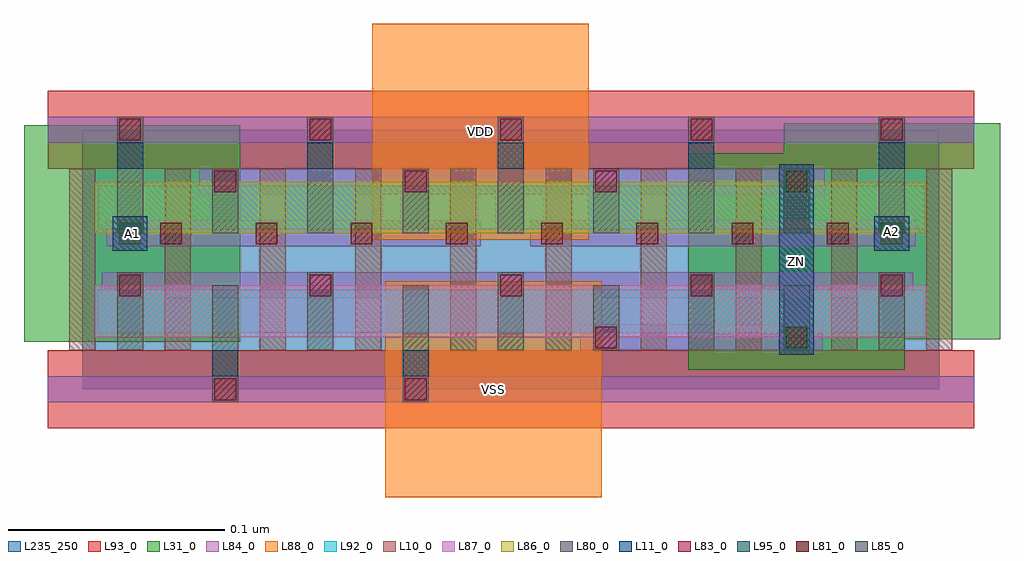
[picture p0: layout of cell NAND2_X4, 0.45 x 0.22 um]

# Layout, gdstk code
import gdstk
lib = gdstk.Library(unit=1e-6, precision=1e-09)
def R(c, l, rs):  # rectangles x0, y0, x1, y1
    for r in rs: c.add(gdstk.rectangle(r[:2], r[2:], *l))
def A(c, l, x, y, w, h, nx, ny, dx, dy):  # array of equal rectangles
    R(c, l, [(x+i*dx, y+j*dy, x+i*dx+w, y+j*dy+h) for i in range(nx) for j in range(ny)])
L10_0 = (10, 0)
L11_0 = (11, 0)
L31_0 = (31, 0)
L80_0 = (80, 0)
L81_0 = (81, 0)
L83_0 = (83, 0)
L84_0 = (84, 0)
L85_0 = (85, 0)
L86_0 = (86, 0)
L87_0 = (87, 0)
L88_0 = (88, 0)
L92_0 = (92, 0)
L93_0 = (93, 0)
L95_0 = (95, 0)
L235_250 = (235, 250)

nand2_x4 = lib.new_cell('NAND2_X4')
A(nand2_x4, L10_0, -0.006, 0.018, 0.012, 0.084, 10, 1, 0.044, 0)
R(nand2_x4, L11_0, [(0.322,0.016,0.338,0.104), (0.014,0.064,0.03,0.08), (0.366,0.064,0.382,0.08)])
R(nand2_x4, L31_0, [(0.28,0.009,0.38,0.109), (-0.027,0.022,0.073,0.122), (0.324,0.023,0.424,0.123)])
A(nand2_x4, L80_0, 0.016, 0.018, 0.012, 0.036, 5, 1, 0.088, 0)
A(nand2_x4, L80_0, 0.016, 0.072, 0.012, 0.054, 5, 1, 0.088, 0)
A(nand2_x4, L80_0, 0.06, 0.072, 0.012, 0.03, 4, 1, 0.088, 0)
R(nand2_x4, L80_0, [(0.06,-0.006,0.072,0.048), (0.148,-0.006,0.16,0.048), (0.236,0.018,0.248,0.048), (0.324,0.018,0.336,0.048)])
A(nand2_x4, L81_0, 0.036, 0.067, 0.01, 0.01, 8, 1, 0.044, 0)
A(nand2_x4, L83_0, 0.017, 0.043, 0.01, 0.01, 5, 2, 0.088, 0.072)
A(nand2_x4, L83_0, 0.061, 0.091, 0.01, 0.01, 4, 1, 0.088, 0)
R(nand2_x4, L83_0, [(0.061,-0.005,0.071,0.005), (0.149,-0.005,0.159,0.005), (0.237,0.019,0.247,0.029), (0.325,0.019,0.335,0.029)])
R(nand2_x4, L84_0, [(-0.016,-0.006,0.412,0.006), (0.23,0.018,0.342,0.03), (0.009,0.042,0.384,0.054), (0.011,0.066,0.184,0.078), (0.207,0.066,0.385,0.078), (0.054,0.09,0.343,0.102), (-0.016,0.114,0.412,0.126)])
R(nand2_x4, L85_0, [(0.325,0.019,0.335,0.029), (0.017,0.067,0.027,0.077), (0.369,0.067,0.379,0.077), (0.325,0.091,0.335,0.101)])
R(nand2_x4, L86_0, [(0.006,0.072,0.39,0.096)])
R(nand2_x4, L87_0, [(0.006,0.024,0.39,0.048)])
R(nand2_x4, L88_0, [(0.14,-0.05,0.24,0.05), (0.134,0.069,0.234,0.169)])
R(nand2_x4, L92_0, [(0.007,0.026,0.389,0.046), (0.007,0.074,0.389,0.094)])
R(nand2_x4, L93_0, [(-0.016,-0.018,0.412,0.018), (-0.016,0.102,0.412,0.138)])
A(nand2_x4, L95_0, 0.016, 0.102, 0.012, 0.012, 5, 1, 0.088, 0)
R(nand2_x4, L95_0, [(0.06,0.006,0.072,0.018), (0.148,0.006,0.16,0.018)])
R(nand2_x4, L235_250, [(0,0,0.396,0.12)])
nand2_x4.add(gdstk.Label('VSS', (0.19,0), layer=88, texttype=0))
nand2_x4.add(gdstk.Label('VDD', (0.184,0.119), layer=88, texttype=0))
nand2_x4.add(gdstk.Label('A1', (0.023,0.072), layer=31, texttype=0))
nand2_x4.add(gdstk.Label('A2', (0.374,0.073), layer=31, texttype=0))
nand2_x4.add(gdstk.Label('ZN', (0.33,0.059), layer=31, texttype=0))

lib.write_gds('NAND2_X4.gds')
